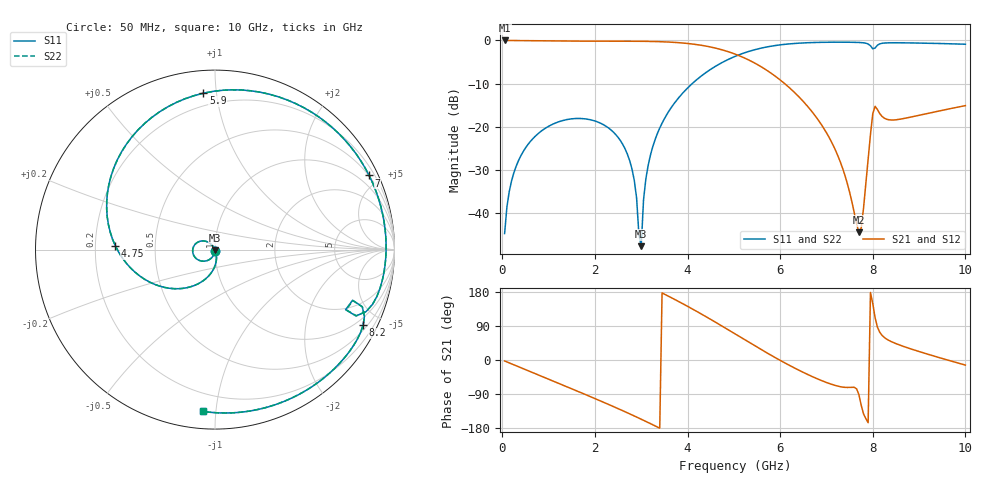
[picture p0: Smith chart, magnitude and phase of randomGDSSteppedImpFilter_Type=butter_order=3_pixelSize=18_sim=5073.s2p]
! freq	dB(S11)	phase(S11)	dB(S12)	phase(S12)
!  dB(S21)	phase(S21)	dB(S22)	phase(S22)
!S-par simulation data
#  GHz  S  DB  R 50
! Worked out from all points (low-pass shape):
!   200 points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, 50 MHz to 10 GHz, reference 50 ohm
!   highest |S21| = 0.00 dB at 50 MHz (marker M1); lowest = -44.4 dB at 7.7 GHz (marker M2)
!   |S21| within 3 dB of the highest: start of sweep to 4.987 GHz
!   lowest |S11| = -47.7 dB at 3 GHz (marker M3), VSWR 1.01, Z = 50.1 - j0.398 ohm
!   |S11| at or under -10 dB: start of sweep to 4.101 GHz
!   |S22| runs from -47.7 to -0.4 dB; largest |S21 - S12| = 0
!   S11 on the Smith chart (normalised r, x): 50 MHz: 1.00, -0.01; 4.75 GHz: 0.29, +0.02; 5.9 GHz: 0.12, +0.92; 7 GHz: 0.48, +4.33; 8.2 GHz: 0.68, -4.06; 10 GHz: 0.09, -0.92
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0.05  -44.73 -91.1  -0.00 -2.6  -0.00 -2.6  -44.62 -91.8
0.2  -32.55 -100.1  -0.02 -10.2  -0.02 -10.2  -32.54 -100.3
0.5  -24.92 -115.8  -0.05 -25.4  -0.05 -25.4  -24.92 -115.8
1.75  -18.12 -179.8  -0.17 -88.8  -0.17 -88.8  -18.12 -179.8
2.65  -25.08 132.6  -0.18 -136.5  -0.18 -136.5  -25.08 132.6
2.85  -32.42 122.0  -0.18 -147.7  -0.18 -147.7  -32.42 121.9
3  -47.66 -73.6  -0.20 -156.2  -0.20 -156.2  -47.67 -72.8
3.1  -32.10 -74.3  -0.21 -162.0  -0.21 -162.0  -32.10 -74.2
3.4  -20.29 -91.5  -0.29 -180.0  -0.29 -180.0  -20.29 -91.5
4.15  -9.53 -139.8  -0.89 131.6  -0.89 131.6  -9.53 -139.8
4.75  -5.10 177.8  -2.19 89.2  -2.19 89.2  -5.10 177.8
5.05  -3.59 155.8  -3.26 67.2  -3.26 67.2  -3.59 155.8
5.9  -1.17 94.2  -8.33 5.9  -8.33 5.9  -1.17 94.2
6.7  -0.49 42.8  -16.67 -44.1  -16.67 -44.1  -0.49 42.8
7  -0.42 25.7  -21.38 -59.4  -21.38 -59.4  -0.42 25.7
7.4  -0.41 4.5  -31.31 -72.2  -31.31 -72.2  -0.41 4.5
7.7  -0.47 -10.9  -44.45 -91.0  -44.45 -91.0  -0.47 -10.8
7.75  -0.50 -13.5  -43.49 -119.2  -43.49 -119.2  -0.50 -13.5
8  -1.93 -24.7  -16.97 148.9  -16.97 148.9  -1.90 -24.6
8.2  -0.66 -27.0  -17.60 65.0  -17.60 65.0  -0.66 -27.1
8.35  -0.55 -34.5  -18.38 51.6  -18.38 51.6  -0.55 -34.5
10  -0.88 -94.3  -15.10 -13.5  -15.10 -13.5  -0.88 -94.3
